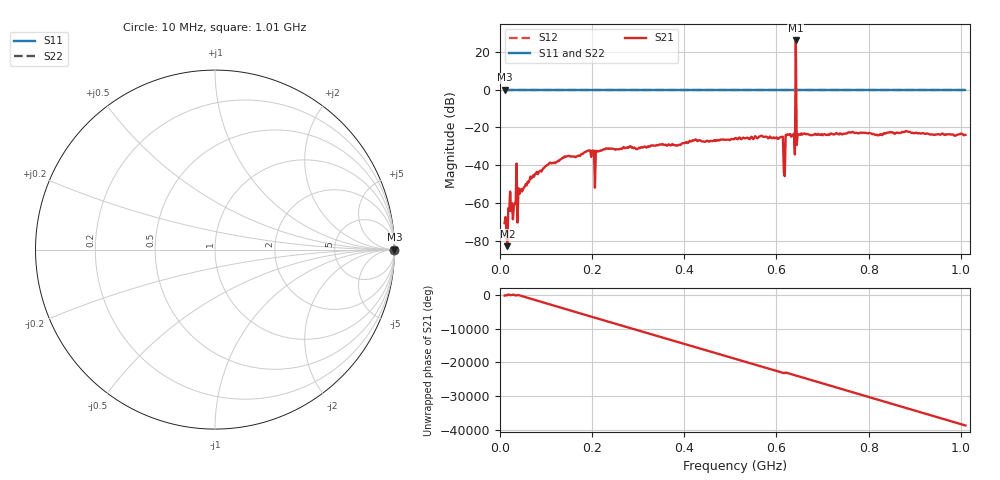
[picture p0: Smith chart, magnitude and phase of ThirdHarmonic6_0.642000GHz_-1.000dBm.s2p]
! 8/15/2025 9:15:55 PM
! C:\ANRITSUVNA\TEMP\TEMP.S2P
! CHANNEL.1
! TR.MEASUREMENT
! RAW.DATA
! RF.CORRECTION.OFF
! AVERAGING.OFF
! IF.BANDWIDTH: 5KHZ
! SWEEPTYPE:  FREQ.SWEEP(Linear)
! Reference Plane Port Info
! PORT:  PORT1  PORT2
! DISTANCE:  0  m  0  m
! TIME:  0  s  0  s
! PHASE.OFFSET:  0  deg.  0  deg.
! LOSS:  0  dB  0  dB
! REF.LOSS:  0  dB  0  dB
! REF.FREQ:  0  Hz  0  Hz
! Power Info
! POWER:  -20  dBm  -20  dBm
! EFF.POWER:  -20  dBm  -20  dBm
! SOURCE.ATTEN:  0  dB  0  dB
! TEST.ATTEN:  0  dB  0  dB
# GHZ S RI R 50.0
! FREQ.GHZ  S11RE  S11IM  S21RE  S21IM  S12RE  S12IM  S22RE  S22IM
!; PortSelection: Port_12
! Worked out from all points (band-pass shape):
!   501 points, 10 MHz to 1.01 GHz, reference 50 ohm
!   highest |S21| = 26.03 dB at 642 MHz (marker M1); lowest = -82.9 dB at 16 MHz (marker M2)
!   |S21| within 3 dB of the highest: 641.9006 MHz to 642.1084 MHz (207.8 kHz wide, 0.0324 % of centre)
!   lowest |S11| = 0.0 dB at 10 MHz (marker M3)
!   |S11| at or under -10 dB: nowhere
!   |S22| runs from 0.0 to 0.0 dB; largest |S21 - S12| = 21
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0.01  1 0  -0.00018 -0.000231  1 0  1 0
0.016  1 0  6.18e-05 3.61e-05  1 0  1 0
0.022  1 0  0.00179 0.00088  1 0  1 0
0.028  1 0  -0.000286 0.000233  1 0  1 0
0.04  1 0  0.00237 0.000688  1 0  1 0
0.076  1 0  0.00586 0.000154  1 0  1 0
0.178  1 0  -0.0199 -0.00102  1 0  1 0
0.202  1 0  0.00534 -0.0238  1 0  1 0
0.344  1 0  0.0285 -0.0184  1 0  1 0
0.51  1 0  -0.0305 0.0419  1 0  1 0
0.61  1 0  0.0282 0.0483  1 0  1 0
0.614  1 0  -0.0102 -0.0558  1 0  1 0
0.62  1 0  0.0613 0.0158  1 0  1 0
0.624  1 0  -0.0535 -0.0377  1 0  1 0
0.636  1 0  0.00407 0.0631  1 0  1 0
0.638  1 0  0.068 0.00711  1 0  1 0
0.642  1 0  -19.93 -2.001  1 0  1 0
0.646  1 0  0.0513 0.0414  1 0  1 0
0.648  1 0  0.0481 -0.0425  1 0  1 0
0.678  1 0  -0.0625 -0.00656  1 0  1 0
0.844  1 0  0.0612 -0.0389  1 0  1 0
1.01  1 0  -0.00941 0.0626  1 0  1 0
